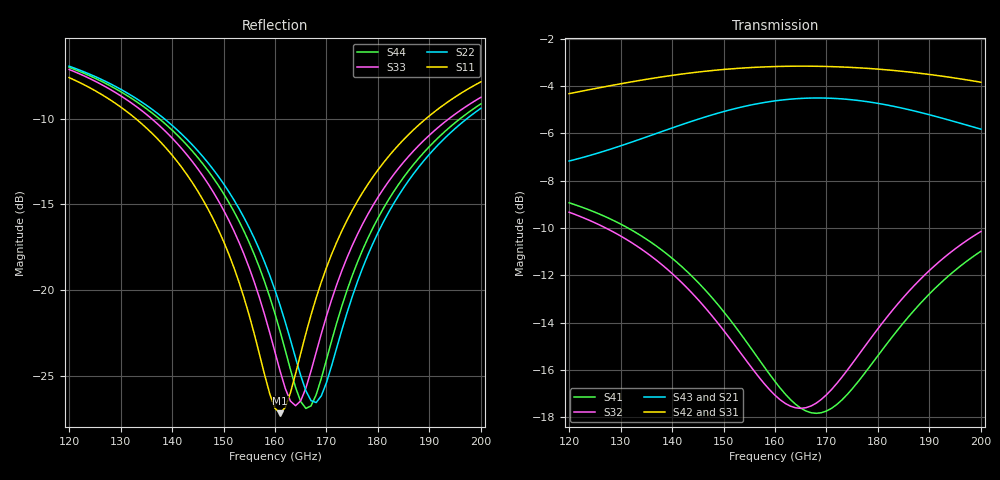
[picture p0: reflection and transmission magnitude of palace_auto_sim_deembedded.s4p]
! Created with skrf 1.10.0 (http://scikit-rf.org).
# GHz S DB R 50.0
!freq dBS11 angS11 dBS12 angS12 dBS13 angS13
! dBS14 angS14
! dBS21 angS21 dBS22 angS22 dBS23 angS23
! dBS24 angS24
! dBS31 angS31 dBS32 angS32 dBS33 angS33
! dBS34 angS34
! dBS41 angS41 dBS42 angS42 dBS43 angS43
! dBS44 angS44
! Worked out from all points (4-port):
!   81 points, 120 GHz to 200 GHz, reference 50 ohm
!   strongest paths, dB at 120 GHz, 140 GHz, 160 GHz, 180 GHz, 200 GHz:
!     S42: -4.3, -3.6, -3.2, -3.3, -3.8
!     S31: -4.2, -3.4, -3.1, -3.4, -4.1
!     S43: -7.2, -5.8, -4.6, -4.7, -5.8
!     S21: -7.0, -5.7, -4.6, -4.8, -6.0
!     S32: -9.3, -11.9, -17.1, -14.3, -10.1
!     S41: -8.9, -11.3, -16.5, -15.4, -11.0
!   lowest |S11| = -27.2 dB at 161 GHz (marker M1), VSWR 1.09, Z = 54.5 + j0.758 ohm
!   |S11| at or under -10 dB: 132.9 GHz to 189.4 GHz (56.42 GHz wide, 35 % of centre)
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120  -7.61 135.9  -6.97 -58.4  -4.16 -119.6  -8.94 -92.0
     -6.97 -58.4  -6.94 127.2  -9.34 -95.2  -4.33 -123.3
     -4.16 -119.6  -9.34 -95.2  -7.14 124.7  -7.17 -60.4
     -8.94 -92.0  -4.33 -123.3  -7.17 -60.4  -7.02 126.3
145  -14.23 104.0  -5.35 -72.6  -3.27 -152.6  -12.29 -113.4
     -5.35 -72.6  -11.87 97.3  -13.01 -114.7  -3.42 -156.1
     -3.27 -152.6  -13.01 -114.7  -12.93 91.6  -5.41 -74.8
     -12.29 -113.4  -3.42 -156.1  -5.41 -74.8  -12.27 95.2
161  -27.17 9.1  -4.61 -88.1  -3.14 -175.4  -16.76 -108.2
     -4.61 -88.1  -20.89 59.1  -17.26 -102.6  -3.18 -178.9
     -3.14 -175.4  -17.26 -102.6  -24.72 32.0  -4.60 -90.7
     -16.76 -108.2  -3.18 -178.9  -4.60 -90.7  -22.41 51.4
164  -24.86 -33.3  -4.56 -91.4  -3.16 -179.7  -17.45 -102.1
     -4.56 -91.4  -23.95 39.5  -17.60 -95.3  -3.17 176.8
     -3.16 -179.7  -17.60 -95.3  -26.73 -9.2  -4.54 -94.0
     -17.45 -102.1  -3.17 176.8  -4.54 -94.0  -25.66 24.5
168  -20.44 -60.1  -4.54 -95.8  -3.20 174.6  -17.83 -91.8
     -4.54 -95.8  -26.54 -11.2  -17.40 -85.0  -3.17 171.0
     -3.20 174.6  -17.40 -85.0  -23.61 -59.1  -4.51 -98.5
     -17.83 -91.8  -3.17 171.0  -4.51 -98.5  -26.09 -34.2
181  -12.60 -89.7  -4.86 -109.5  -3.45 156.6  -15.10 -69.3
     -4.86 -109.5  -16.06 -94.0  -13.97 -69.9  -3.31 152.4
     -3.45 156.6  -13.97 -69.9  -14.12 -104.0  -4.78 -112.5
     -15.10 -69.3  -3.31 152.4  -4.78 -112.5  -15.26 -98.8
200  -7.86 -111.7  -6.03 -125.3  -4.11 131.8  -10.98 -76.2
     -6.03 -125.3  -9.40 -123.6  -10.15 -81.5  -3.84 126.3
     -4.11 131.8  -10.15 -81.5  -8.76 -129.5  -5.83 -128.6
     -10.98 -76.2  -3.84 126.3  -5.83 -128.6  -9.14 -126.4
